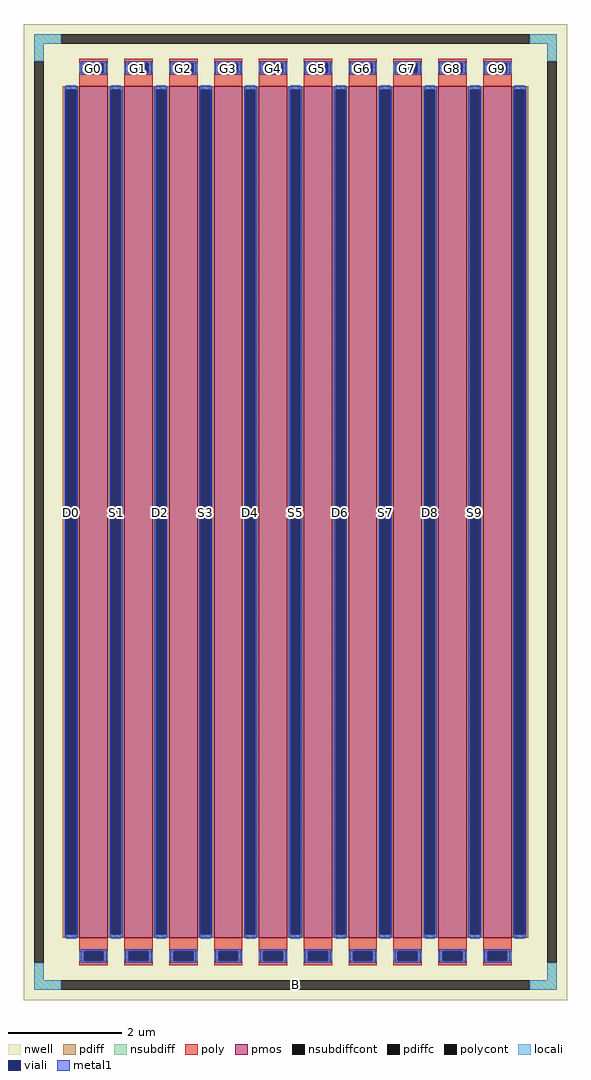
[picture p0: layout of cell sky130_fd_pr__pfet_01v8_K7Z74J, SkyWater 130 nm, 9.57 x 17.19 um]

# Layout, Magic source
magic
tech sky130A
magscale 1 2
<< nwell >>
rect -957 -1719 957 1719
<< pmos >>
rect -761 -1500 -661 1500
rect -603 -1500 -503 1500
rect -445 -1500 -345 1500
rect -287 -1500 -187 1500
rect -129 -1500 -29 1500
rect 29 -1500 129 1500
rect 187 -1500 287 1500
rect 345 -1500 445 1500
rect 503 -1500 603 1500
rect 661 -1500 761 1500
<< pdiff >>
rect -819 1488 -761 1500
rect -819 -1488 -807 1488
rect -773 -1488 -761 1488
rect -819 -1500 -761 -1488
rect -661 1488 -603 1500
rect -661 -1488 -649 1488
rect -615 -1488 -603 1488
rect -661 -1500 -603 -1488
rect -503 1488 -445 1500
rect -503 -1488 -491 1488
rect -457 -1488 -445 1488
rect -503 -1500 -445 -1488
rect -345 1488 -287 1500
rect -345 -1488 -333 1488
rect -299 -1488 -287 1488
rect -345 -1500 -287 -1488
rect -187 1488 -129 1500
rect -187 -1488 -175 1488
rect -141 -1488 -129 1488
rect -187 -1500 -129 -1488
rect -29 1488 29 1500
rect -29 -1488 -17 1488
rect 17 -1488 29 1488
rect -29 -1500 29 -1488
rect 129 1488 187 1500
rect 129 -1488 141 1488
rect 175 -1488 187 1488
rect 129 -1500 187 -1488
rect 287 1488 345 1500
rect 287 -1488 299 1488
rect 333 -1488 345 1488
rect 287 -1500 345 -1488
rect 445 1488 503 1500
rect 445 -1488 457 1488
rect 491 -1488 503 1488
rect 445 -1500 503 -1488
rect 603 1488 661 1500
rect 603 -1488 615 1488
rect 649 -1488 661 1488
rect 603 -1500 661 -1488
rect 761 1488 819 1500
rect 761 -1488 773 1488
rect 807 -1488 819 1488
rect 761 -1500 819 -1488
<< pdiffc >>
rect -807 -1488 -773 1488
rect -649 -1488 -615 1488
rect -491 -1488 -457 1488
rect -333 -1488 -299 1488
rect -175 -1488 -141 1488
rect -17 -1488 17 1488
rect 141 -1488 175 1488
rect 299 -1488 333 1488
rect 457 -1488 491 1488
rect 615 -1488 649 1488
rect 773 -1488 807 1488
<< nsubdiff >>
rect -921 1649 -825 1683
rect 825 1649 921 1683
rect -921 1587 -887 1649
rect 887 1587 921 1649
rect -921 -1649 -887 -1587
rect 887 -1649 921 -1587
rect -921 -1683 -825 -1649
rect 825 -1683 921 -1649
<< nsubdiffcont >>
rect -825 1649 825 1683
rect -921 -1587 -887 1587
rect 887 -1587 921 1587
rect -825 -1683 825 -1649
<< poly >>
rect -761 1581 -661 1597
rect -761 1547 -745 1581
rect -677 1547 -661 1581
rect -761 1500 -661 1547
rect -603 1581 -503 1597
rect -603 1547 -587 1581
rect -519 1547 -503 1581
rect -603 1500 -503 1547
rect -445 1581 -345 1597
rect -445 1547 -429 1581
rect -361 1547 -345 1581
rect -445 1500 -345 1547
rect -287 1581 -187 1597
rect -287 1547 -271 1581
rect -203 1547 -187 1581
rect -287 1500 -187 1547
rect -129 1581 -29 1597
rect -129 1547 -113 1581
rect -45 1547 -29 1581
rect -129 1500 -29 1547
rect 29 1581 129 1597
rect 29 1547 45 1581
rect 113 1547 129 1581
rect 29 1500 129 1547
rect 187 1581 287 1597
rect 187 1547 203 1581
rect 271 1547 287 1581
rect 187 1500 287 1547
rect 345 1581 445 1597
rect 345 1547 361 1581
rect 429 1547 445 1581
rect 345 1500 445 1547
rect 503 1581 603 1597
rect 503 1547 519 1581
rect 587 1547 603 1581
rect 503 1500 603 1547
rect 661 1581 761 1597
rect 661 1547 677 1581
rect 745 1547 761 1581
rect 661 1500 761 1547
rect -761 -1547 -661 -1500
rect -761 -1581 -745 -1547
rect -677 -1581 -661 -1547
rect -761 -1597 -661 -1581
rect -603 -1547 -503 -1500
rect -603 -1581 -587 -1547
rect -519 -1581 -503 -1547
rect -603 -1597 -503 -1581
rect -445 -1547 -345 -1500
rect -445 -1581 -429 -1547
rect -361 -1581 -345 -1547
rect -445 -1597 -345 -1581
rect -287 -1547 -187 -1500
rect -287 -1581 -271 -1547
rect -203 -1581 -187 -1547
rect -287 -1597 -187 -1581
rect -129 -1547 -29 -1500
rect -129 -1581 -113 -1547
rect -45 -1581 -29 -1547
rect -129 -1597 -29 -1581
rect 29 -1547 129 -1500
rect 29 -1581 45 -1547
rect 113 -1581 129 -1547
rect 29 -1597 129 -1581
rect 187 -1547 287 -1500
rect 187 -1581 203 -1547
rect 271 -1581 287 -1547
rect 187 -1597 287 -1581
rect 345 -1547 445 -1500
rect 345 -1581 361 -1547
rect 429 -1581 445 -1547
rect 345 -1597 445 -1581
rect 503 -1547 603 -1500
rect 503 -1581 519 -1547
rect 587 -1581 603 -1547
rect 503 -1597 603 -1581
rect 661 -1547 761 -1500
rect 661 -1581 677 -1547
rect 745 -1581 761 -1547
rect 661 -1597 761 -1581
<< polycont >>
rect -745 1547 -677 1581
rect -587 1547 -519 1581
rect -429 1547 -361 1581
rect -271 1547 -203 1581
rect -113 1547 -45 1581
rect 45 1547 113 1581
rect 203 1547 271 1581
rect 361 1547 429 1581
rect 519 1547 587 1581
rect 677 1547 745 1581
rect -745 -1581 -677 -1547
rect -587 -1581 -519 -1547
rect -429 -1581 -361 -1547
rect -271 -1581 -203 -1547
rect -113 -1581 -45 -1547
rect 45 -1581 113 -1547
rect 203 -1581 271 -1547
rect 361 -1581 429 -1547
rect 519 -1581 587 -1547
rect 677 -1581 745 -1547
<< locali >>
rect -921 1649 -825 1683
rect 825 1649 921 1683
rect -921 1587 -887 1649
rect 887 1587 921 1649
rect -761 1547 -745 1581
rect -677 1547 -661 1581
rect -603 1547 -587 1581
rect -519 1547 -503 1581
rect -445 1547 -429 1581
rect -361 1547 -345 1581
rect -287 1547 -271 1581
rect -203 1547 -187 1581
rect -129 1547 -113 1581
rect -45 1547 -29 1581
rect 29 1547 45 1581
rect 113 1547 129 1581
rect 187 1547 203 1581
rect 271 1547 287 1581
rect 345 1547 361 1581
rect 429 1547 445 1581
rect 503 1547 519 1581
rect 587 1547 603 1581
rect 661 1547 677 1581
rect 745 1547 761 1581
rect -807 1488 -773 1504
rect -807 -1504 -773 -1488
rect -649 1488 -615 1504
rect -649 -1504 -615 -1488
rect -491 1488 -457 1504
rect -491 -1504 -457 -1488
rect -333 1488 -299 1504
rect -333 -1504 -299 -1488
rect -175 1488 -141 1504
rect -175 -1504 -141 -1488
rect -17 1488 17 1504
rect -17 -1504 17 -1488
rect 141 1488 175 1504
rect 141 -1504 175 -1488
rect 299 1488 333 1504
rect 299 -1504 333 -1488
rect 457 1488 491 1504
rect 457 -1504 491 -1488
rect 615 1488 649 1504
rect 615 -1504 649 -1488
rect 773 1488 807 1504
rect 773 -1504 807 -1488
rect -761 -1581 -745 -1547
rect -677 -1581 -661 -1547
rect -603 -1581 -587 -1547
rect -519 -1581 -503 -1547
rect -445 -1581 -429 -1547
rect -361 -1581 -345 -1547
rect -287 -1581 -271 -1547
rect -203 -1581 -187 -1547
rect -129 -1581 -113 -1547
rect -45 -1581 -29 -1547
rect 29 -1581 45 -1547
rect 113 -1581 129 -1547
rect 187 -1581 203 -1547
rect 271 -1581 287 -1547
rect 345 -1581 361 -1547
rect 429 -1581 445 -1547
rect 503 -1581 519 -1547
rect 587 -1581 603 -1547
rect 661 -1581 677 -1547
rect 745 -1581 761 -1547
rect -921 -1649 -887 -1587
rect 887 -1649 921 -1587
rect -921 -1683 -825 -1649
rect 825 -1683 921 -1649
<< viali >>
rect -745 1547 -677 1581
rect -587 1547 -519 1581
rect -429 1547 -361 1581
rect -271 1547 -203 1581
rect -113 1547 -45 1581
rect 45 1547 113 1581
rect 203 1547 271 1581
rect 361 1547 429 1581
rect 519 1547 587 1581
rect 677 1547 745 1581
rect -807 -1488 -773 1488
rect -649 -1488 -615 1488
rect -491 -1488 -457 1488
rect -333 -1488 -299 1488
rect -175 -1488 -141 1488
rect -17 -1488 17 1488
rect 141 -1488 175 1488
rect 299 -1488 333 1488
rect 457 -1488 491 1488
rect 615 -1488 649 1488
rect 773 -1488 807 1488
rect -745 -1581 -677 -1547
rect -587 -1581 -519 -1547
rect -429 -1581 -361 -1547
rect -271 -1581 -203 -1547
rect -113 -1581 -45 -1547
rect 45 -1581 113 -1547
rect 203 -1581 271 -1547
rect 361 -1581 429 -1547
rect 519 -1581 587 -1547
rect 677 -1581 745 -1547
<< metal1 >>
rect -757 1581 -665 1587
rect -757 1547 -745 1581
rect -677 1547 -665 1581
rect -757 1541 -665 1547
rect -599 1581 -507 1587
rect -599 1547 -587 1581
rect -519 1547 -507 1581
rect -599 1541 -507 1547
rect -441 1581 -349 1587
rect -441 1547 -429 1581
rect -361 1547 -349 1581
rect -441 1541 -349 1547
rect -283 1581 -191 1587
rect -283 1547 -271 1581
rect -203 1547 -191 1581
rect -283 1541 -191 1547
rect -125 1581 -33 1587
rect -125 1547 -113 1581
rect -45 1547 -33 1581
rect -125 1541 -33 1547
rect 33 1581 125 1587
rect 33 1547 45 1581
rect 113 1547 125 1581
rect 33 1541 125 1547
rect 191 1581 283 1587
rect 191 1547 203 1581
rect 271 1547 283 1581
rect 191 1541 283 1547
rect 349 1581 441 1587
rect 349 1547 361 1581
rect 429 1547 441 1581
rect 349 1541 441 1547
rect 507 1581 599 1587
rect 507 1547 519 1581
rect 587 1547 599 1581
rect 507 1541 599 1547
rect 665 1581 757 1587
rect 665 1547 677 1581
rect 745 1547 757 1581
rect 665 1541 757 1547
rect -813 1488 -767 1500
rect -813 -1488 -807 1488
rect -773 -1488 -767 1488
rect -813 -1500 -767 -1488
rect -655 1488 -609 1500
rect -655 -1488 -649 1488
rect -615 -1488 -609 1488
rect -655 -1500 -609 -1488
rect -497 1488 -451 1500
rect -497 -1488 -491 1488
rect -457 -1488 -451 1488
rect -497 -1500 -451 -1488
rect -339 1488 -293 1500
rect -339 -1488 -333 1488
rect -299 -1488 -293 1488
rect -339 -1500 -293 -1488
rect -181 1488 -135 1500
rect -181 -1488 -175 1488
rect -141 -1488 -135 1488
rect -181 -1500 -135 -1488
rect -23 1488 23 1500
rect -23 -1488 -17 1488
rect 17 -1488 23 1488
rect -23 -1500 23 -1488
rect 135 1488 181 1500
rect 135 -1488 141 1488
rect 175 -1488 181 1488
rect 135 -1500 181 -1488
rect 293 1488 339 1500
rect 293 -1488 299 1488
rect 333 -1488 339 1488
rect 293 -1500 339 -1488
rect 451 1488 497 1500
rect 451 -1488 457 1488
rect 491 -1488 497 1488
rect 451 -1500 497 -1488
rect 609 1488 655 1500
rect 609 -1488 615 1488
rect 649 -1488 655 1488
rect 609 -1500 655 -1488
rect 767 1488 813 1500
rect 767 -1488 773 1488
rect 807 -1488 813 1488
rect 767 -1500 813 -1488
rect -757 -1547 -665 -1541
rect -757 -1581 -745 -1547
rect -677 -1581 -665 -1547
rect -757 -1587 -665 -1581
rect -599 -1547 -507 -1541
rect -599 -1581 -587 -1547
rect -519 -1581 -507 -1547
rect -599 -1587 -507 -1581
rect -441 -1547 -349 -1541
rect -441 -1581 -429 -1547
rect -361 -1581 -349 -1547
rect -441 -1587 -349 -1581
rect -283 -1547 -191 -1541
rect -283 -1581 -271 -1547
rect -203 -1581 -191 -1547
rect -283 -1587 -191 -1581
rect -125 -1547 -33 -1541
rect -125 -1581 -113 -1547
rect -45 -1581 -33 -1547
rect -125 -1587 -33 -1581
rect 33 -1547 125 -1541
rect 33 -1581 45 -1547
rect 113 -1581 125 -1547
rect 33 -1587 125 -1581
rect 191 -1547 283 -1541
rect 191 -1581 203 -1547
rect 271 -1581 283 -1547
rect 191 -1587 283 -1581
rect 349 -1547 441 -1541
rect 349 -1581 361 -1547
rect 429 -1581 441 -1547
rect 349 -1587 441 -1581
rect 507 -1547 599 -1541
rect 507 -1581 519 -1547
rect 587 -1581 599 -1547
rect 507 -1587 599 -1581
rect 665 -1547 757 -1541
rect 665 -1581 677 -1547
rect 745 -1581 757 -1547
rect 665 -1587 757 -1581
<< labels >>
rlabel nsubdiffcont 0 -1666 0 -1666 0 B
port 1 nsew
rlabel pdiffc -790 0 -790 0 0 D0
port 2 nsew
rlabel polycont -711 1564 -711 1564 0 G0
port 3 nsew
rlabel pdiffc -632 0 -632 0 0 S1
port 4 nsew
rlabel polycont -553 1564 -553 1564 0 G1
port 5 nsew
rlabel pdiffc -474 0 -474 0 0 D2
port 6 nsew
rlabel polycont -395 1564 -395 1564 0 G2
port 7 nsew
rlabel pdiffc -316 0 -316 0 0 S3
port 8 nsew
rlabel polycont -237 1564 -237 1564 0 G3
port 9 nsew
rlabel pdiffc -158 0 -158 0 0 D4
port 10 nsew
rlabel polycont -79 1564 -79 1564 0 G4
port 11 nsew
rlabel pdiffc 0 0 0 0 0 S5
port 12 nsew
rlabel polycont 79 1564 79 1564 0 G5
port 13 nsew
rlabel pdiffc 158 0 158 0 0 D6
port 14 nsew
rlabel polycont 237 1564 237 1564 0 G6
port 15 nsew
rlabel pdiffc 316 0 316 0 0 S7
port 16 nsew
rlabel polycont 395 1564 395 1564 0 G7
port 17 nsew
rlabel pdiffc 474 0 474 0 0 D8
port 18 nsew
rlabel polycont 553 1564 553 1564 0 G8
port 19 nsew
rlabel pdiffc 632 0 632 0 0 S9
port 20 nsew
rlabel polycont 711 1564 711 1564 0 G9
port 21 nsew
<< properties >>
string FIXED_BBOX -904 -1666 904 1666
string gencell sky130_fd_pr__pfet_01v8
string library sky130
string parameters w 15 l 0.5 m 1 nf 10 diffcov 100 polycov 100 guard 1 glc 1 grc 1 gtc 1 gbc 1 tbcov 100 rlcov 100 topc 1 botc 1 poverlap 0 doverlap 1 lmin 0.15 wmin 0.42 class mosfet compatible {sky130_fd_pr__pfet_01v8  sky130_fd_pr__pfet_01v8_lvt sky130_fd_pr__pfet_01v8_hvt  sky130_fd_pr__pfet_g5v0d10v5} full_metal 1 conn_gates 0 viasrc 100 viadrn 100 viagate 100 viagb 0 viagr 0 viagl 0 viagt 0 doports 1
<< end >>
